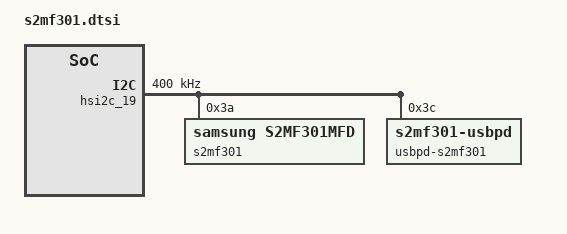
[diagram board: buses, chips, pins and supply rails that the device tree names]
&pinctrl_0 {
	if_pmic_irq: if_pmic_irq {
		GPIO_CONFIG_PUD_DRV(AP,gpa0,gpa0,5, FUNC_INPUT_WAKEUP, PULL_UP, DRV_LV1);
	};
};

&pinctrl_0 {
	usbpd_irq: usbpd_irq {
		GPIO_CONFIG_PUD_DRV(AP,gpa0,gpa0,1, FUNC_INPUT_WAKEUP, PULL_UP, DRV_LV1);
	};
};

#if 0
&${usbpd_vbus_discharging_parent} {
	usbpd_vbus_discharging: usbpd_vbus_discharging {
		GPIO_CONFIG_PUD_DRV(${usbpd_vbus_discharging_gpio}, FUNC_OUTPUT_LOW, PULL_DOWN, DRV_LV1);
	};
};
#endif

#if 0
&${pogo_dock_parent} {
	pogo_dock_int: pogo_dock_int {
		GPIO_CONFIG_PUD_DRV(${pogo_gpio}, FUNC_INPUT_WAKEUP, PULL_NONE, DRV_LV1);
	};
};
#endif

&hsi2c_19 {
	#address-cells = <1>;
	#size-cells = <0>;
	status = "okay";
	clock-frequency = <400000>;
	samsung,i2c-max-bus-freq = <400000>;

	s2mf301: s2mf301@3A {
		status = "okay";
		compatible = "samsung,s2mf301mfd";
		reg = <0x3A>;
		pinctrl-names = "default";
		pinctrl-0 = <&if_pmic_irq>;
		s2mf301,irq-gpio = <SEC_GPIO_REF(AP,gpa0,gpa0,5) 1>;
		s2mf301,wakeup;
	};

	usbpd-s2mf301@3C {
		status = "okay";
		compatible = "s2mf301-usbpd";
		reg = <0x3C>;
		pinctrl-names = "default";
		pinctrl-0 = <&usbpd_irq 
#if 0
						&usbpd_vbus_discharging
#endif
#if 0
						&pogo_dock_int
#endif
						>;
		usbpd,usbpd_int = <SEC_GPIO_REF(AP,gpa0,gpa0,1) 0>;
#if 0
		usbpd,vbus_discharging = <SEC_GPIO_REF(${usbpd_vbus_discharging_gpio}) 0>;
#endif
#if 0
		pogo_dock_int = <SEC_GPIO_REF(${pogo_gpio}) 0>;
#endif

		pdic-manager {
			/* sink */
			pdic,max_power = <5000>;
			pdic_op_power = <2500>;
			pdic_max_voltage = <6000>;
			pdic_max_current = <2000>;
			pdic,min_current = <500>;

			pdic,giveback = <0>;
			pdic,usb_com_capable = <1>;
			pdic,no_usb_suspend = <1>;

			/* source */
			source,max_voltage = <5000>;
			source,min_voltage = <4000>;
			source,max_power = <2500>;

			/* sink cap */
			sink,capable_max_voltage = <5000>;
		};
	};
};

